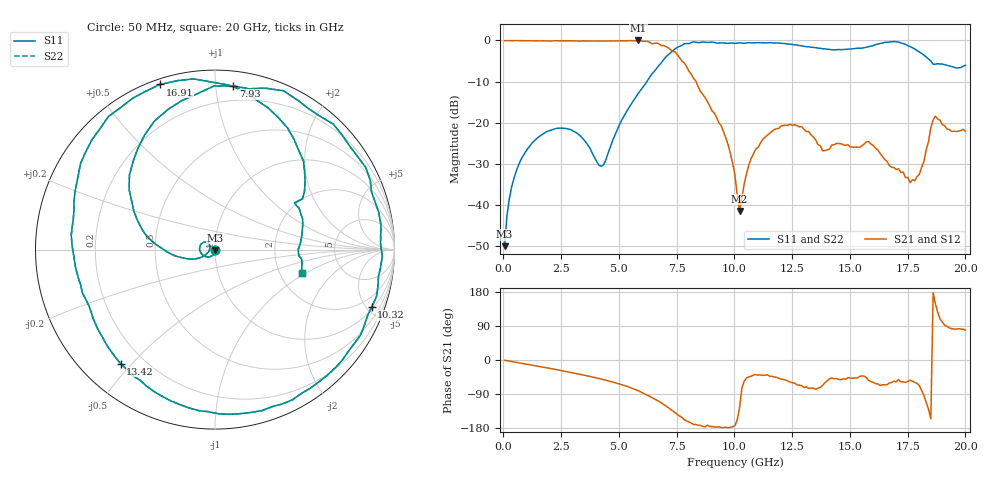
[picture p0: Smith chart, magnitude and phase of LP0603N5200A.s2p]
!	AVX	Thin	Film	Operation	Date:	2007
!	Description:	"Series,"	Thin	"Film,"	"LGA,"	RF	Filters
!	Part	Number:	LP0603N5200AN
!	50	MHz	-	20	GHz
!	Serial	Measurements  Agilent  8720ES
#	mhz	S	db	R	50
!	S11	S11	S21	S21	S12	S12	S22	S22
!	dB	Phase	dB	Phase	dB	Phase	dB	Phase
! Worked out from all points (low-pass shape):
!   201 points, 50 MHz to 20 GHz, reference 50 ohm
!   highest |S21| = 0.01 dB at 5.835 GHz (marker M1); lowest = -41.4 dB at 10.22 GHz (marker M2)
!   |S21| within 3 dB of the highest: start of sweep to 7.464 GHz
!   lowest |S11| = -50.0 dB at 50 MHz (marker M3), VSWR 1.01, Z = 50.3 - j0.176 ohm
!   |S11| at or under -10 dB: start of sweep to 6.207 GHz
!   |S22| runs from -50.0 to -0.3 dB; largest |S21 - S12| = 0
!   S11 on the Smith chart (normalised r, x): 50 MHz: 1.01, -0.00; 7.93 GHz: 0.10, +1.11; 10.32 GHz: 1.15, -5.39; 13.42 GHz: 0.12, -0.47; 16.91 GHz: 0.02, +0.72; 20 GHz: 2.65, -0.90
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50  -49.98 -33.5  -0.04 -0.7  -0.04 -0.7  -49.98 -33.5
349.25  -35.70 -88.3  -0.05 -3.8  -0.05 -3.8  -35.70 -88.3
1047.5  -26.32 -125.0  -0.05 -11.4  -0.05 -11.4  -26.32 -125.0
3441.5  -23.85 139.4  -0.11 -39.6  -0.11 -39.6  -23.85 139.4
4339.25  -30.21 -175.8  -0.13 -52.1  -0.13 -52.1  -30.21 -175.8
5835.5  -12.85 -171.5  0.01 -81.1  0.01 -81.1  -12.85 -171.5
6733.25  -6.05 154.9  -0.84 -109.8  -0.84 -109.8  -6.05 154.9
7331.75  -2.51 121.6  -2.67 -134.7  -2.67 -134.7  -2.51 121.6
7930.25  -0.75 83.6  -6.35 -160.5  -6.35 -160.5  -0.75 83.6
9027.5  -0.39 28.6  -17.09 -175.7  -17.09 -175.7  -0.39 28.6
10025  -0.70 -9.4  -32.76 -173.1  -32.76 -173.1  -0.70 -9.4
10224.5  -0.56 -16.4  -41.42 -124.9  -41.42 -124.9  -0.56 -16.4
10324.25  -0.64 -20.1  -38.24 -73.9  -38.24 -73.9  -0.64 -20.1
11321.75  -0.56 -55.4  -23.51 -40.2  -23.51 -40.2  -0.56 -55.4
12219.5  -0.76 -88.5  -20.58 -53.0  -20.58 -53.0  -0.76 -88.5
13416.5  -1.68 -129.6  -23.45 -74.1  -23.45 -74.1  -1.68 -129.6
15311.75  -1.88 174.2  -25.94 -47.5  -25.94 -47.5  -1.88 174.2
16708.25  -0.36 118.6  -30.37 -60.3  -30.37 -60.3  -0.36 118.6
16907.75  -0.27 108.5  -30.89 -55.9  -30.89 -55.9  -0.27 108.5
18104.75  -3.13 44.9  -30.84 -80.1  -30.84 -80.1  -3.13 44.9
18703.25  -5.75 28.3  -18.39 148.1  -18.39 148.1  -5.75 28.3
20000  -6.03 -14.8  -22.04 78.8  -22.04 78.8  -6.03 -14.8
